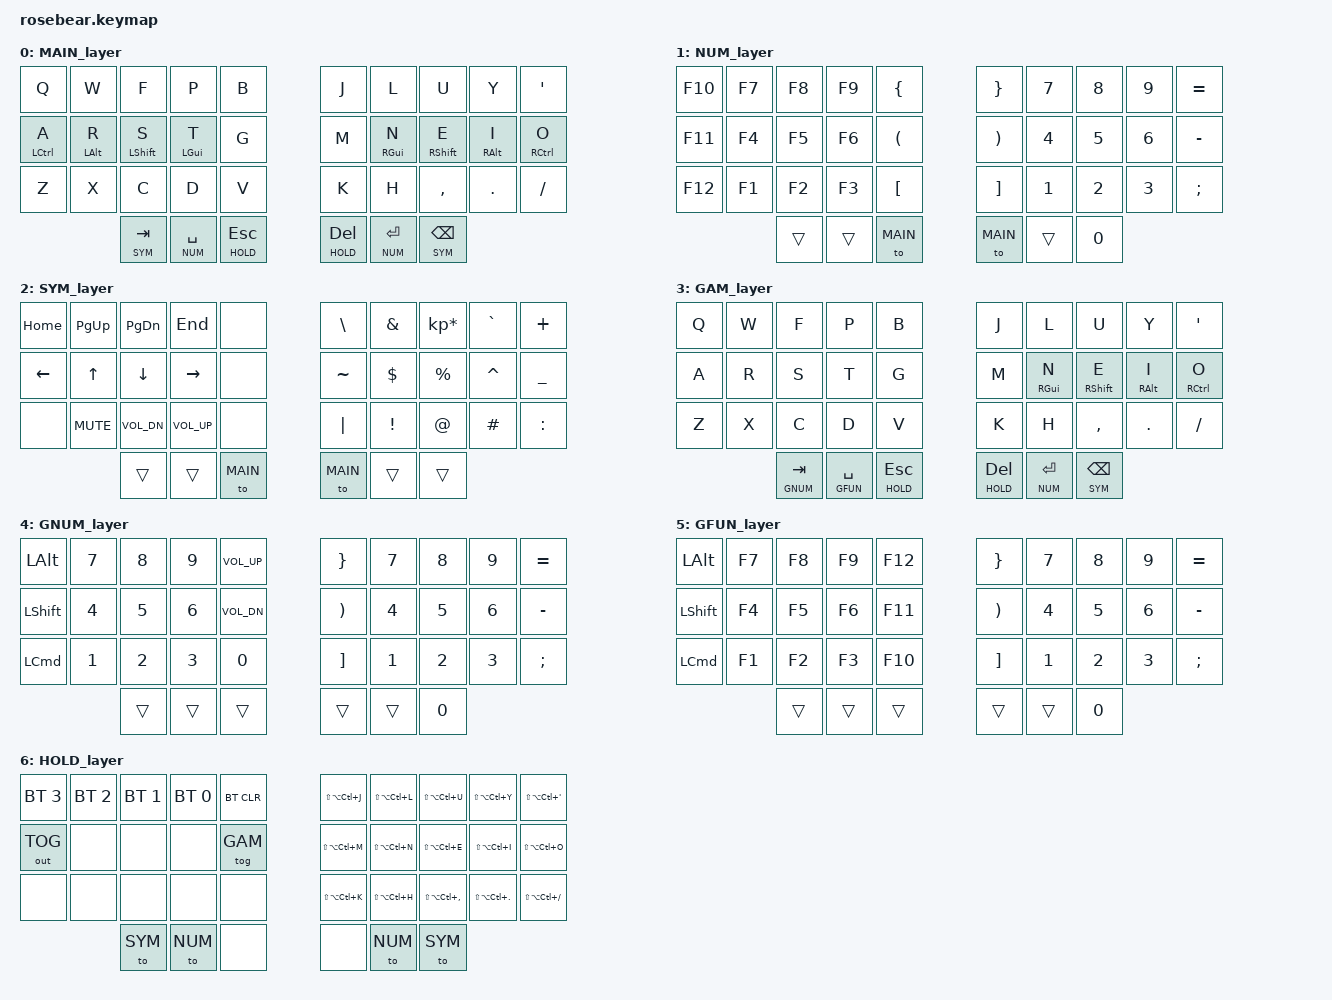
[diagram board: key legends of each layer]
#include <behaviors.dtsi>
#include <dt-bindings/zmk/keys.h>
#include <dt-bindings/zmk/bt.h>
#include <dt-bindings/zmk/outputs.h>

#define MAIN 0
#define NUM  1
#define SYM  2
#define GAM  3
#define GNUM 4
#define GFUN 5
#define HOLD 6

#define ASTR KP_ASTERISK

/*
&mt {
    flavor = "tap-preferred";
    tapping-term-ms = <150>;
    quick-tap-ms = <150>;
};

&lt {
    flavor = "tap-preferred";
    tapping-term-ms = <150>;
    quick-tap-ms = <150>;
};
*/

/ {
    behaviors {
        ms: mod_tap_short {
            compatible = "zmk,behavior-hold-tap";
            label = "MOD_TAP_SHORT";
            #binding-cells = <2>;
            tapping-term-ms = <150>;
            quick-tap-ms = <150>;
            require-prior-idle-ms = <100>;
            flavor = "tap-preferred";
            bindings = <&kp>, <&kp>;
        };

        ml: mod_tap_long {
            compatible = "zmk,behavior-hold-tap";
            label = "MOD_TAP_LONG";
            #binding-cells = <2>;
            tapping-term-ms = <200>;
            quick-tap-ms = <200>;
            require-prior-idle-ms = <150>;
            flavor = "tap-preferred";
            bindings = <&kp>, <&kp>;
        };

        ls: layer_tap_short {
            compatible = "zmk,behavior-hold-tap";
            label = "LAYER_TAP_SHORT";
            #binding-cells = <2>;
            tapping-term-ms = <150>;
            quick-tap-ms = <150>;
            require-prior-idle-ms = <125>;
            flavor = "tap-preferred";
            bindings = <&mo>, <&kp>;
        };

        ll: layer_tap_long {
            compatible = "zmk,behavior-hold-tap";
            label = "LAYER_TAP_LONG";
            #binding-cells = <2>;
            tapping-term-ms = <200>;
            quick-tap-ms = <200>;
            require-prior-idle-ms = <150>;
            flavor = "tap-preferred";
            bindings = <&mo>, <&kp>;
        };
    };

    keymap {
        compatible = "zmk,keymap";

        MAIN_layer {
            bindings = <
    &kp Q       &kp W      &kp F       &kp P      &kp B       &kp J &kp L      &kp U       &kp Y      &kp SQT
    &ml LCTRL A &ml LALT R &ms LSHFT S &ml LGUI T &kp G       &kp M &ml RGUI N &ms RSHFT E &ml RALT I &ml RCTRL O
    &kp Z       &kp X      &kp C       &kp D      &kp V       &kp K &kp H      &kp COMMA   &kp DOT    &kp FSLH
             &ls SYM TAB   &ls NUM SPACE   &ls HOLD ESC       &ll HOLD DEL   &ll NUM RET   &ll SYM BSPC
            >;
        };

        NUM_layer {
            bindings = <
    &kp F10 &kp F7   &kp F8   &kp F9   &kp LBRC   &kp RBRC   &kp N7    &kp N8    &kp N9    &kp EQUAL
    &kp F11 &kp F4   &kp F5   &kp F6   &kp LPAR   &kp RPAR   &kp N4    &kp N5    &kp N6    &kp MINUS
    &kp F12 &kp F1   &kp F2   &kp F3   &kp LBKT   &kp RBKT   &kp N1    &kp N2    &kp N3    &kp SEMI
             &trans       &trans    &to MAIN      &to MAIN   &trans    &kp N0
            >;
        };

        SYM_layer {
            bindings = <
    &kp HOME &kp PG_UP  &kp PG_DN    &kp END      &none         &kp BSLH   &kp AMPS   &kp ASTR   &kp GRAVE &kp PLUS
    &kp LEFT &kp UP     &kp DOWN     &kp RIGHT    &none         &kp TILDE  &kp DLLR   &kp PRCNT  &kp CARET &kp UNDER
    &none    &kp K_MUTE &kp K_VOL_DN &kp K_VOL_UP &none         &kp PIPE   &kp EXCL   &kp AT     &kp HASH  &kp COLON
                                &trans   &trans   &to MAIN      &to MAIN   &trans   &trans
            >;
        };

        GAM_layer {
            bindings = <
    &kp Q &kp W &kp F &kp P &kp B                           &kp J    &kp L      &kp U       &kp Y      &kp SQT
    &kp A &kp R &kp S &kp T &kp G                           &kp M    &ms RGUI N &ms RSHFT E &ml RALT I &ml RCTRL O
    &kp Z &kp X &kp C &kp D &kp V                           &kp K    &kp H      &kp COMMA   &kp DOT    &kp FSLH
             &lt GNUM TAB &lt GFUN SPACE &lt HOLD ESC       &lt HOLD DEL   &lt NUM RET   &lt SYM BSPC
            >;
        };

        GNUM_layer {
            bindings = <
    &kp LALT  &kp N7   &kp N8   &kp N9   &kp K_VOL_UP   &kp RBRC   &kp N7    &kp N8    &kp N9    &kp EQUAL
    &kp LSHFT &kp N4   &kp N5   &kp N6   &kp K_VOL_DN   &kp RPAR   &kp N4    &kp N5    &kp N6    &kp MINUS
    &kp LCMD  &kp N1   &kp N2   &kp N3   &kp N0         &kp RBKT   &kp N1    &kp N2    &kp N3    &kp SEMI
                       &trans   &trans   &trans         &trans     &trans    &kp N0
            >;
        };

        GFUN_layer {
            bindings = <
    &kp LALT  &kp F7   &kp F8   &kp F9   &kp F12    &kp RBRC   &kp N7    &kp N8    &kp N9    &kp EQUAL
    &kp LSHFT &kp F4   &kp F5   &kp F6   &kp F11    &kp RPAR   &kp N4    &kp N5    &kp N6    &kp MINUS
    &kp LCMD  &kp F1   &kp F2   &kp F3   &kp F10    &kp RBKT   &kp N1    &kp N2    &kp N3    &kp SEMI
                        &trans  &trans   &trans     &trans     &trans    &kp N0
            >;
        };

        HOLD_layer {
            bindings = <
    &bt BT_SEL 3 &bt BT_SEL 2 &bt BT_SEL 1 &bt BT_SEL 0 &bt BT_CLR &kp LS(LA(LC(J))) &kp LS(LA(LC(L))) &kp LS(LA(LC(U))) &kp LS(LA(LC(Y)))   &kp LS(LA(LC(SQT)))
    &out OUT_TOG &none &none &none &tog GAM                               &kp LS(LA(LC(M))) &kp LS(LA(LC(N))) &kp LS(LA(LC(E)))     &kp LS(LA(LC(I)))   &kp LS(LA(LC(O)))
    &none        &none &none &none &none                                  &kp LS(LA(LC(K))) &kp LS(LA(LC(H))) &kp LS(LA(LC(COMMA))) &kp LS(LA(LC(DOT))) &kp LS(LA(LC(FSLH)))
            &to SYM &to NUM &none                                  &none &to NUM &to SYM
            >;
        };

    };
};
